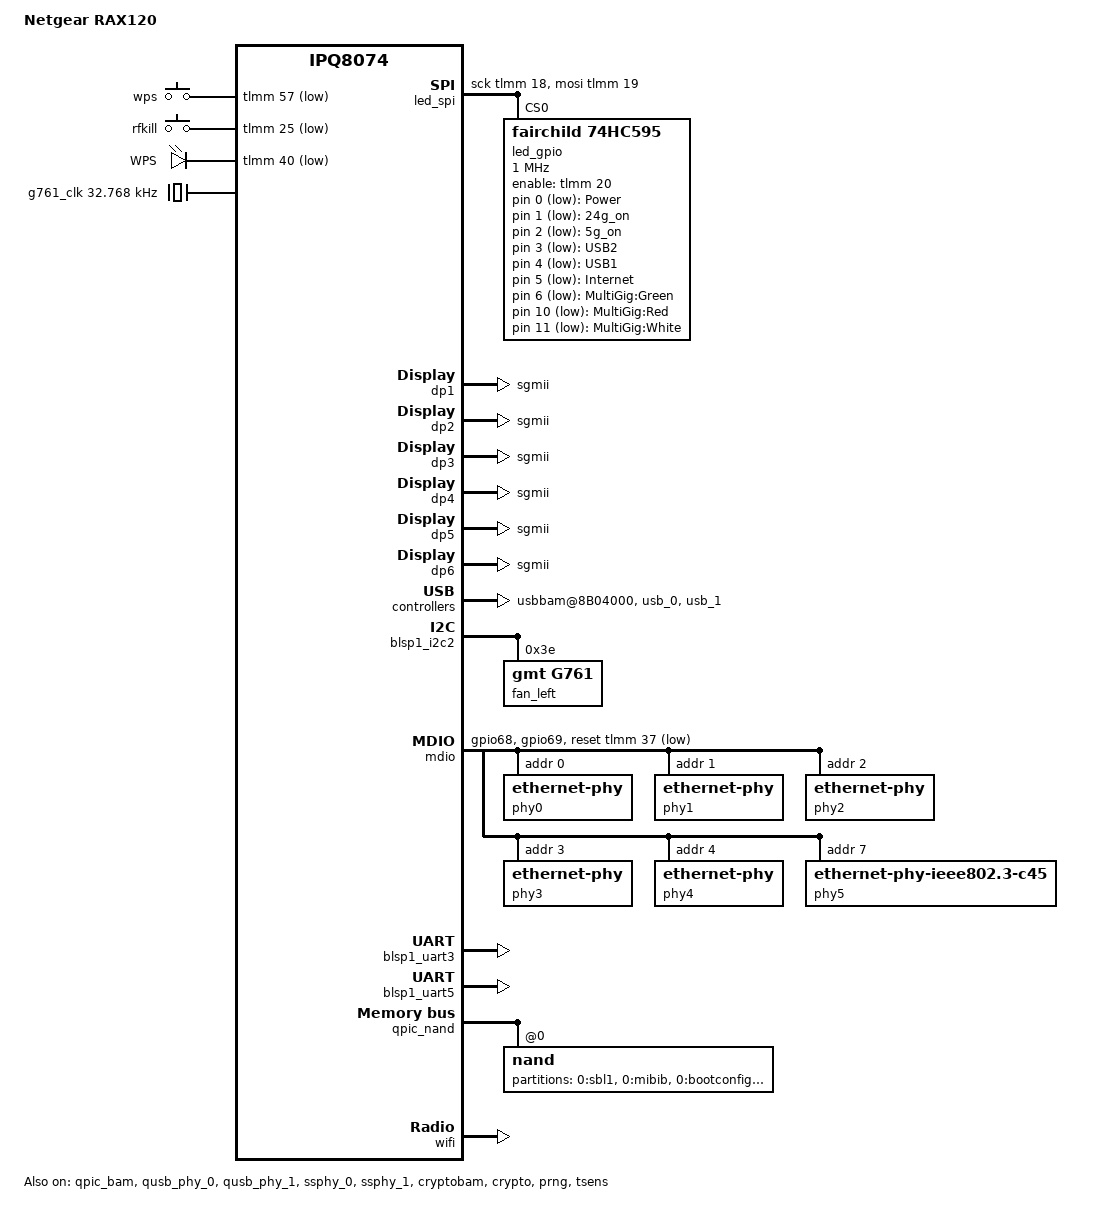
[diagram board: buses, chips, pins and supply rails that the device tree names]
// SPDX-License-Identifier: GPL-2.0-only
/dts-v1/;
/* Copyright (c) 2017, The Linux Foundation. All rights reserved.
 */
#include "ipq8074.dtsi"
#include "ipq8074-ess.dtsi"
#include "ipq8074-hk-cpu.dtsi"
#include "ipq8074-512m.dtsi"
#include <dt-bindings/input/input.h>
#include <dt-bindings/gpio/gpio.h>

/ {
	#address-cells = <0x2>;
	#size-cells = <0x2>;
	model = "Netgear RAX120";
	compatible = "netgear,rax120", "qcom,ipq8074";
	interrupt-parent = <&intc>;

	aliases {
		serial0 = &blsp1_uart5;
		serial1 = &blsp1_uart3;
		label-mac-device = &dp1;
		ethernet0 = &dp1;
		ethernet1 = &dp2;
		ethernet2 = &dp3;
		ethernet3 = &dp4;
		ethernet4 = &dp5;
		ethernet5 = &dp6;
	};

	chosen {
		stdout-path = "serial0";
	};

	keys {
		compatible = "gpio-keys";

		wps {
			label = "wps";
			gpios = <&tlmm 57 GPIO_ACTIVE_LOW>;
			linux,code = <KEY_WPS_BUTTON>;
		};

		rfkill {
			label = "rfkill";
			gpios = <&tlmm 25 GPIO_ACTIVE_LOW>;
			linux,code = <KEY_RFKILL>;
		};
	};

	led_spi {
		compatible = "spi-gpio";
		#address-cells = <1>;
		#size-cells = <0>;
		sck-gpios = <&tlmm 18 GPIO_ACTIVE_HIGH>;
		mosi-gpios = <&tlmm 19 GPIO_ACTIVE_HIGH>;


		led_gpio: led_gpio@0 {
			compatible = "fairchild,74hc595";
			reg = <0>;
			gpio-controller;
			#gpio-cells = <2>;
			registers-number = <2>;
			spi-max-frequency = <1000000>;
			enable-gpios = <&tlmm 20 GPIO_ACTIVE_HIGH>;
		};
	};

	leds {
		compatible = "gpio-leds";

		led0 {
			label = "Power";
			gpios = <&led_gpio 0 GPIO_ACTIVE_LOW>;
			linux,default-trigger = "led_wifi_son_orange";
		};

		led1 {
			label = "24g_on";
			gpios = <&led_gpio 1 GPIO_ACTIVE_LOW>;
			linux,default-trigger = "led_wifi_son_orange";
		};

		led2 {
			label = "5g_on";
			gpios = <&led_gpio 2 GPIO_ACTIVE_LOW>;
			linux,default-trigger = "led_wifi_son_blue";
		};

		led3 {
			label = "USB2";
			gpios = <&led_gpio 3 GPIO_ACTIVE_LOW>;
			linux,default-trigger = "phy0radio";
		};

		led4 {
			label = "USB1";
			gpios = <&led_gpio 4 GPIO_ACTIVE_LOW>;
			linux,default-trigger = "led_5gl";
		};

		led5 {
			label = "Internet";
			gpios = <&led_gpio 5 GPIO_ACTIVE_LOW>;
			linux,default-trigger = "led_5gh";
		};

		led6 {
			label = "MultiGig:Green";
			gpios = <&led_gpio 6 GPIO_ACTIVE_LOW>;
			linux,default-trigger = "led_lan";
		};	

		led7 {
			label = "MultiGig:Red";
			gpios = <&led_gpio 10 GPIO_ACTIVE_LOW>;
			linux,default-trigger = "led_lan";
		};

		led8 {
			label = "MultiGig:White";
			gpios = <&led_gpio 11 GPIO_ACTIVE_LOW>;
			linux,default-trigger = "led_lan";
		};

		led9 {
			label = "WPS";
			gpios = <&tlmm 40 GPIO_ACTIVE_LOW>;
			linux,default-trigger = "led_usb2_enable";
		};
	};

	partitions {
		compatible = "fixed-partitions";
		#address-cells = <1>;
        #size-cells = <1>;
		partition@0100000 {
			label = "0:ART.bak";
			reg = <0x01000000 0x00080000>;
		};
		partition@01080000 {
			label = "config";
			reg = <0x01080000 0x00100000>;
		};
		partition@01180000 {
			label = "boarddata1";
			reg = <0x01180000 0x00100000>;
		};
		partition@01280000 {
			label = "boarddata2";
			reg = <0x01280000 0x00100000>;
		};
		partition@01380000 {
			label = "pot";
			reg = <0x01380000 0x00100000>;
		};
		partition@01480000 {
			label = "dnidata";
			reg = <0x01480000 0x00500000>;
		};
		firmware@01980000 {
			label = "firmware";
			reg = <0x01980000 0x06400000>;
		
			partition@1 {
				label = "kernel";
				reg = <0x01980000 0x00620000>;
			};
			partition@2 {
				label = "rootfs";
				reg = <0x01fa0000 0x05de0000>;
			};
		};
		partition@07d80000 {
			label = "language";
			reg = <0x07d80000 0x00380000>;
		};
		partition@08100000 {
			label = "cert";
			reg = <0x08100000 0x00100000>;
		};
		partition@08200000 {
			label = "mtdoops";
			reg = <0x08200000 0x00080000>;
		};
		partition@08280000 {
			label = "router_analytics";
			reg = <0x08280000 0x00200000>;
		};
		partition@08480000 {
			label = "ntgrdata";
			reg = <0x08480000 0x06400000>;
		};
		partition@0E880000 {
			label = "reserved";
			reg = <0x0E880000 0x11780000>;
		};
	};
};

&clocks {
	sleep_clk: sleep_clk {
		compatible = "fixed-clock";
		clock-frequency = <32000>;
		#clock-cells = <0>;
	};

	g761_clk: g761-oscillator{
		compatible = "fixed-clock";
		#clock-cells = <0>;
		clock-frequency = <32768>;
  	};
};

&tlmm {

	mdio_pins: mdio-pins {
		mdc {
			pins = "gpio68";
			function = "mdc";
			drive-strength = <8>;
			bias-pull-up;
		};

		mdio {
			pins = "gpio69";
			function = "mdio";
			drive-strength = <8>;
			bias-pull-up;
		};
	};

	uniphy_pins: uniphy_pinmux {
		mux {
			pins = "gpio60";
			function = "rx2";
			bias-disable;
		};
		sfp_tx {
			pins = "gpio59";
			function = "gpio";
			drive-strength = <8>;
			bias-pull-down;
			output-low;
		};
	};
};

&soc {

	dp1: dp1 {
		device_type = "network";
		compatible = "qcom,nss-dp";
		qcom,id = <1>;
		reg = <0x3a001000 0x200>;
		qcom,mactype = <0>;
		local-mac-address = [000000000000];
		qcom,link-poll = <1>;
		qcom,phy-mdio-addr = <0>;
		phy-mode = "sgmii";
		mdio-bus = <&mdio>;
	};
	dp2: dp2 {
		device_type = "network";
		compatible = "qcom,nss-dp";
		qcom,id = <2>;
		reg = <0x3a001200 0x200>;
		qcom,mactype = <0>;
		local-mac-address = [000000000000];
		qcom,link-poll = <1>;
		qcom,phy-mdio-addr = <1>;
		phy-mode = "sgmii";
		mdio-bus = <&mdio>;
	};
	dp3: dp3 {
		device_type = "network";
		compatible = "qcom,nss-dp";
		qcom,id = <3>;
		reg = <0x3a001400 0x200>;
		qcom,mactype = <0>;
		local-mac-address = [000000000000];
		qcom,link-poll = <1>;
		qcom,phy-mdio-addr = <2>;
		phy-mode = "sgmii";
		mdio-bus = <&mdio>;
	};
	dp4: dp4 {
		device_type = "network";
		compatible = "qcom,nss-dp";
		qcom,id = <4>;
		reg = <0x3a001600 0x200>;
		qcom,mactype = <0>;
		local-mac-address = [000000000000];
		qcom,link-poll = <1>;
		qcom,phy-mdio-addr = <3>;
		phy-mode = "sgmii";
		mdio-bus = <&mdio>;
	};
	dp5: dp5 {
		device_type = "network";
		compatible = "qcom,nss-dp";
		qcom,id = <5>;
		reg = <0x3a001800 0x200>;
		qcom,mactype = <0>;
		local-mac-address = [000000000000];
		qcom,link-poll = <1>;
		qcom,phy-mdio-addr = <4>;
		phy-mode = "sgmii";
		mdio-bus = <&mdio>;
	};
	dp6: dp6 {
		device_type = "network";
		compatible = "qcom,nss-dp";
		qcom,id = <6>;
		reg = <0x3a007000 0x3fff>;
		qcom,mactype = <1>;
		local-mac-address = [000000000000];
		qcom,link-poll = <1>;
		qcom,phy-mdio-addr = <7>;
		phy-mode = "sgmii";
		mdio-bus = <&mdio>;
	};

	ess-switch@3a000000 {
		status = "okay";
		pinctrl-0 = <&uniphy_pins>;
		pinctrl-names = "default";
		switch_lan_bmp = <0x3e>; /* lan port bitmap */
		switch_wan_bmp = <0x40>; /* wan port bitmap */
		switch_mac_mode = <0x0>; /* mac mode for uniphy instance0*/
		switch_mac_mode1 = <0xff>; /* mac mode for uniphy instance1*/
		switch_mac_mode2 = <0xd>; /* mac mode for uniphy instance2*/
		bm_tick_mode = <0>; /* bm tick mode */
		tm_tick_mode = <0>; /* tm tick mode */	
		mdio-bus = <&mdio>;
		qcom,port_phyinfo {
			port@1 {
				port_id = <1>;
				phy_address = <0>;
			};
			port@2 {
				port_id = <2>;
				phy_address = <1>;
			};
			port@3 {
				port_id = <3>;
				phy_address = <2>;
			};
			port@4 {
				port_id = <4>;
				phy_address = <3>;
			};
			port@5 {
				port_id = <5>;
				phy_address = <4>;
			};
			port@6 {
				port_id = <6>;
				phy_address = <5>;
				compatible = "ethernet-phy-ieee802.3-c45";
				ethernet-phy-ieee802.3-c45;
			};
		};
		port_scheduler_resource {
			port@0 {
				port_id = <0>;
				ucast_queue = <0 143>;
				mcast_queue = <256 271>;
				l0sp = <0 35>;
				l0cdrr = <0 47>;
				l0edrr = <0 47>;
				l1cdrr = <0 7>;
				l1edrr = <0 7>;
			};
			port@1 {
				port_id = <1>;
				ucast_queue = <144 159>;
				mcast_queue = <272 275>;
				l0sp = <36 39>;
				l0cdrr = <48 63>;
				l0edrr = <48 63>;
				l1cdrr = <8 11>;
				l1edrr = <8 11>;
			};
			port@2 {
				port_id = <2>;
				ucast_queue = <160 175>;
				mcast_queue = <276 279>;
				l0sp = <40 43>;
				l0cdrr = <64 79>;
				l0edrr = <64 79>;
				l1cdrr = <12 15>;
				l1edrr = <12 15>;
			};
			port@3 {
				port_id = <3>;
				ucast_queue = <176 191>;
				mcast_queue = <280 283>;
				l0sp = <44 47>;
				l0cdrr = <80 95>;
				l0edrr = <80 95>;
				l1cdrr = <16 19>;
				l1edrr = <16 19>;
			};
			port@4 {
				port_id = <4>;
				ucast_queue = <192 207>;
				mcast_queue = <284 287>;
				l0sp = <48 51>;
				l0cdrr = <96 111>;
				l0edrr = <96 111>;
				l1cdrr = <20 23>;
				l1edrr = <20 23>;
			};
			port@5 {
				port_id = <5>;
				ucast_queue = <208 223>;
				mcast_queue = <288 291>;
				l0sp = <52 55>;
				l0cdrr = <112 127>;
				l0edrr = <112 127>;
				l1cdrr = <24 27>;
				l1edrr = <24 27>;
			};
			port@6 {
				port_id = <6>;
				ucast_queue = <224 239>;
				mcast_queue = <292 295>;
				l0sp = <56 59>;
				l0cdrr = <128 143>;
				l0edrr = <128 143>;
				l1cdrr = <28 31>;
				l1edrr = <28 31>;
			};
			port@7 {
				port_id = <7>;
				ucast_queue = <240 255>;
				mcast_queue = <296 299>;
				l0sp = <60 63>;
				l0cdrr = <144 159>;
				l0edrr = <144 159>;
				l1cdrr = <32 35>;
				l1edrr = <32 35>;
			};
		};
		port_scheduler_config {
			port@0 {
				port_id = <0>;
				l1scheduler {
					group@0 {
						sp = <0 1>; /*L0 SPs*/
						/*cpri cdrr epri edrr*/
						cfg = <0 0 0 0>;
					};
				};
				l0scheduler {
					group@0 {
						/*unicast queues*/
						ucast_queue = <0 4 8>;
						/*multicast queues*/
						mcast_queue = <256 260>;
						/*sp cpri cdrr epri edrr*/
						cfg = <0 0 0 0 0>;
					};
					group@1 {
						ucast_queue = <1 5 9>;
						mcast_queue = <257 261>;
						cfg = <0 1 1 1 1>;
					};
					group@2 {
						ucast_queue = <2 6 10>;
						mcast_queue = <258 262>;
						cfg = <0 2 2 2 2>;
					};
					group@3 {
						ucast_queue = <3 7 11>;
						mcast_queue = <259 263>;
						cfg = <0 3 3 3 3>;
					};
				};
			};
			port@1 {
				port_id = <1>;
				l1scheduler {
					group@0 {
						sp = <36>;
						cfg = <0 8 0 8>;
					};
					group@1 {
						sp = <37>;
						cfg = <1 9 1 9>;
					};
				};
				l0scheduler {
					group@0 {
						ucast_queue = <144>;
						ucast_loop_pri = <16>;
						mcast_queue = <272>;
						mcast_loop_pri = <4>;
						cfg = <36 0 48 0 48>;
					};
				};
			};
			port@2 {
				port_id = <2>;
				l1scheduler {
					group@0 {
						sp = <40>;
						cfg = <0 12 0 12>;
					};
					group@1 {
						sp = <41>;
						cfg = <1 13 1 13>;
					};
				};
				l0scheduler {
					group@0 {
						ucast_queue = <160>;
						ucast_loop_pri = <16>;
						mcast_queue = <276>;
						mcast_loop_pri = <4>;
						cfg = <40 0 64 0 64>;
					};
				};
			};
			port@3 {
				port_id = <3>;
				l1scheduler {
					group@0 {
						sp = <44>;
						cfg = <0 16 0 16>;
					};
					group@1 {
						sp = <45>;
						cfg = <1 17 1 17>;
					};
				};
				l0scheduler {
					group@0 {
						ucast_queue = <176>;
						ucast_loop_pri = <16>;
						mcast_queue = <280>;
						mcast_loop_pri = <4>;
						cfg = <44 0 80 0 80>;
					};
				};
			};
			port@4 {
				port_id = <4>;
				l1scheduler {
					group@0 {
						sp = <48>;
						cfg = <0 20 0 20>;
					};
					group@1 {
						sp = <49>;
						cfg = <1 21 1 21>;
					};
				};
				l0scheduler {
					group@0 {
						ucast_queue = <192>;
						ucast_loop_pri = <16>;
						mcast_queue = <284>;
						mcast_loop_pri = <4>;
						cfg = <48 0 96 0 96>;
					};
				};
			};
			port@5 {
				port_id = <5>;
				l1scheduler {
					group@0 {
						sp = <52>;
						cfg = <0 24 0 24>;
					};
					group@1 {
						sp = <53>;
						cfg = <1 25 1 25>;
					};
				};
				l0scheduler {
					group@0 {
						ucast_queue = <208>;
						ucast_loop_pri = <16>;
						mcast_queue = <288>;
						mcast_loop_pri = <4>;
						cfg = <52 0 112 0 112>;
					};
				};
			};
			port@6 {
				port_id = <6>;
				l1scheduler {
					group@0 {
						sp = <56>;
						cfg = <0 28 0 28>;
					};
					group@1 {
						sp = <57>;
						cfg = <1 29 1 29>;
					};
				};
				l0scheduler {
					group@0 {
						ucast_queue = <224>;
						ucast_loop_pri = <16>;
						mcast_queue = <292>;
						mcast_loop_pri = <4>;
						cfg = <56 0 128 0 128>;
					};
				};
			};
			port@7 {				
				port_id = <7>;					
				l1scheduler {
					group@0 {
						sp = <60>;
						cfg = <0 32 0 32>;
					};
					group@1 {
						sp = <61>;
						cfg = <1 33 1 33>;
					};
				};
				l0scheduler {
					group@0 {
						ucast_queue = <240>;
						ucast_loop_pri = <16>;
						mcast_queue = <296>;
						cfg = <60 0 144 0 144>;
					};
				};
			};
		};
	};

	nss-common {
		compatible = "qcom,nss-common";
		reg = <0x01868010 0x1000>;
		reg-names = "nss-misc-reset";
	};

	nss0: nss@40000000 {
		compatible = "qcom,nss";
		interrupts = <GIC_SPI 377 IRQ_TYPE_LEVEL_HIGH>,
			<GIC_SPI  378 IRQ_TYPE_LEVEL_HIGH>,
			<GIC_SPI  379 IRQ_TYPE_LEVEL_HIGH>,
			<GIC_SPI  380 IRQ_TYPE_LEVEL_HIGH>,
			<GIC_SPI  381 IRQ_TYPE_LEVEL_HIGH>,
			<GIC_SPI  382 IRQ_TYPE_LEVEL_HIGH>,
			<GIC_SPI  383 IRQ_TYPE_LEVEL_HIGH>,
			<GIC_SPI  384 IRQ_TYPE_LEVEL_HIGH>,
			<GIC_SPI  385 IRQ_TYPE_LEVEL_HIGH>;
		reg = <0x39000000 0x1000>,
			<0x38000000 0x30000>,
			<0x0b111000 0x1000>;
		reg-names = "nphys", "vphys", "qgic-phys";
	    clocks = <&gcc GCC_NSS_NOC_CLK>,
			<&gcc GCC_NSS_PTP_REF_CLK>,
			<&gcc GCC_NSS_CSR_CLK>,
			<&gcc GCC_NSS_CFG_CLK>,
			<&gcc GCC_NSS_IMEM_CLK>,
			<&gcc GCC_NSSNOC_QOSGEN_REF_CLK>,
			<&gcc GCC_MEM_NOC_NSS_AXI_CLK>,
			<&gcc GCC_NSSNOC_SNOC_CLK>,
			<&gcc GCC_NSSNOC_TIMEOUT_REF_CLK>,
			<&gcc GCC_NSS_CE_AXI_CLK>,
			<&gcc GCC_NSS_CE_APB_CLK>,
			<&gcc GCC_NSSNOC_CE_AXI_CLK>,
			<&gcc GCC_NSSNOC_CE_APB_CLK>,
			<&gcc GCC_NSSNOC_UBI0_AHB_CLK>,
			<&gcc GCC_UBI0_CORE_CLK>,
			<&gcc GCC_UBI0_AHB_CLK>,
			<&gcc GCC_UBI0_AXI_CLK>,
			<&gcc GCC_UBI0_MPT_CLK>,
			<&gcc GCC_UBI0_NC_AXI_CLK>;
	    clock-names = "nss-noc-clk", "nss-ptp-ref-clk",
			"nss-csr-clk", "nss-cfg-clk",
			"nss-imem-clk",
			"nss-nssnoc-qosgen-ref-clk",
			"nss-mem-noc-nss-axi-clk",
			"nss-nssnoc-snoc-clk",
			"nss-nssnoc-timeout-ref-clk",
			"nss-ce-axi-clk", "nss-ce-apb-clk",
			"nss-nssnoc-ce-axi-clk",
			"nss-nssnoc-ce-apb-clk",
			"nss-nssnoc-ahb-clk",
			"nss-core-clk", "nss-ahb-clk",
			"nss-axi-clk", "nss-mpt-clk",
			"nss-nc-axi-clk";
		    qcom,id = <0>;
		    qcom,num-queue = <4>;
		    qcom,num-irq = <9>;
		    qcom,num-pri = <4>;
		    qcom,load-addr = <0x40000000>;
		    qcom,low-frequency = <748800000>;
		    qcom,mid-frequency = <1497600000>;
		    qcom,max-frequency = <1689600000>;
		    qcom,bridge-enabled;
		    qcom,ipv4-enabled;
		    qcom,ipv4-reasm-enabled;
		    qcom,ipv6-enabled;
		    qcom,ipv6-reasm-enabled;
		    qcom,wlanredirect-enabled;
		    qcom,tun6rd-enabled;
		    qcom,l2tpv2-enabled;
		    qcom,gre-enabled;
		    qcom,gre-redir-enabled;
		    qcom,map-t-enabled;
		    qcom,portid-enabled;
		    qcom,ppe-enabled;
		    qcom,pppoe-enabled;
		    qcom,pptp-enabled;
		    qcom,tunipip6-enabled;
		    qcom,shaping-enabled;
		    qcom,wlan-dataplane-offload-enabled;
		    qcom,vlan-enabled;
		    npu-supply = <&npu_vreg>;
	};

	usbbam@8B04000 {
		compatible = "qcom,usb-bam-msm";
		reg = <0x8B04000 0x17000>;
		interrupt-parent = <&intc>;
		interrupts = <GIC_SPI 135 IRQ_TYPE_LEVEL_HIGH>;

		qcom,bam-type = <0>;
		qcom,usb-bam-fifo-baseaddr = <0x4A600000>;
		qcom,usb-bam-num-pipes = <4>;
		qcom,ignore-core-reset-ack;
		qcom,disable-clk-gating;
		qcom,usb-bam-override-threshold = <0x4001>;
		qcom,usb-bam-max-mbps-highspeed = <400>;
		qcom,usb-bam-max-mbps-superspeed = <3600>;
		qcom,reset-bam-on-connect;

		qcom,pipe0 {
			label = "ssusb-qdss-in-0";
			qcom,usb-bam-mem-type = <2>;
			qcom,dir = <1>;
			qcom,pipe-num = <0>;
			qcom,peer-bam = <0>;
			qcom,peer-bam-physical-address = <0x6044000>;
			qcom,src-bam-pipe-index = <0>;
			qcom,dst-bam-pipe-index = <0>;
			qcom,data-fifo-offset = <0x0>;
			qcom,data-fifo-size = <0xe00>;
			qcom,descriptor-fifo-offset = <0xe00>;
			qcom,descriptor-fifo-size = <0x200>;
		};
	};	

	dbm_1p5: dbm@8AF8000 {
		compatible = "qcom,usb-dbm-1p5";
		reg = <0x8AF8000 0x300>;
		qcom,reset-ep-after-lpm-resume;
	};
};

&blsp1_i2c2 {
	status = "okay";
	fan_left: g761@3e {
		compatible = "gmt,g761";
		reg = <0x3e>;
		clocks =<&g761_clk>;
		fan_gear_mode = <0>;
		fan_starty = <1>;
		pwm_polarity = <0>;
	};
};

&mdio {
	status = "okay";
	pinctrl-0 = <&mdio_pins>;
	pinctrl-names = "default";
	reset-gpios = <&tlmm 37 GPIO_ACTIVE_LOW>;

	phy0: ethernet-phy@0 {
		reg = <0>;
	};
	phy1: ethernet-phy@1 {
		reg = <1>;
	};
	phy2: ethernet-phy@2 {
		reg = <2>;
	};
	phy3: ethernet-phy@3 {
		reg = <3>;
	};
	phy4: ethernet-phy@4 {
		reg = <4>;
	};
	phy5: ethernet-phy@5 {
		compatible ="ethernet-phy-ieee802.3-c45";
		reg = <7>;
	};
};

&blsp1_uart3 {
	status = "okay";
};

&blsp1_uart5 {
	status = "okay";
};

&pcie0 {
	perst-gpio = <&tlmm 58 1>;
};

&pcie1 {
	perst-gpio = <&tlmm 61 1>;
};

&qpic_bam {
	status = "okay";
};

&qpic_nand {
	status = "okay";
	nand@0 {		
		reg = <0>;
		#address-cells = <0x01>;
		#size-cells = <0x01>;
		nand-ecc-strength = <4>;
		nand-ecc-step-size = <512>;
		nand-bus-width = <8>;
		partition@0 {
			label = "0:sbl1";
			reg = <0x00 0x100000>;
		};
		partition@100000 {
			label = "0:mibib";
			reg = <0x100000 0x100000>;
		};
		partition@200000 {
			label = "0:bootconfig";
			reg = <0x200000 0x80000>;
		};
		partition@280000 {
			label = "0:bootconfig_1";
			reg = <0x280000 0x80000>;
		};
		partition@300000 {
			label = "0:qsee";
			reg = <0x300000 0x300000>;
		};
		partition@600000 {
			label = "0:qsee_1";
			reg = <0x600000 0x300000>;
		};
		partition@900000 {
			label = "0:devcfg";
			reg = <0x900000 0x80000>;
		};
		partition@980000 {
			label = "0:devcfg_1";
			reg = <0x980000 0x80000>;
		};
		partition@a00000 {
			label = "0:apdp";
			reg = <0xa00000 0x80000>;
		};
		partition@a80000 {
			label = "0:apdp_1";
			reg = <0xa80000 0x80000>;
		};
		partition@b00000 {
			label = "0:rpm";
			reg = <0xb00000 0x80000>;
		};
		partition@b80000 {
			label = "0:rpm_1";
			reg = <0xb80000 0x80000>;
		};
		partition@c00000 {
			label = "0:cdt";
			reg = <0xc00000 0x80000>;
		};
		partition@c80000 {
			label = "0:cdt_1";
			reg = <0xc80000 0x80000>;
		};
		partition@d00000 {
			label = "0:appsblenv";
			reg = <0xd00000 0x80000>;
		};
		partition@d80000 {
			label = "0:appsbl";
			reg = <0xd80000 0x100000>;
		};
		partition@e80000 {
			label = "0:appsbl_1";
			reg = <0xe80000 0x100000>;
		};
		partition@f80000 {
			label = "0:art";
			reg = <0xf80000 0x80000>;
		};
		partition@1000000 {
			label = "0:art.bak";
			reg = <0x1000000 0x0080000>;
		};
		partition@1080000 {
			label = "config";
			reg = <0x1080000 0x0100000>;
		};
		partition@1180000 {
			label = "boarddata1";
			reg = <0x1180000 0x0100000>;
		};
		partition@1280000 {
			label = "boarddata2";
			reg = <0x1280000 0x0100000>;
		};
		partition@1380000 {
			label = "pot";
			reg = <0x1380000 0x0100000>;
		};
		partition@1480000 {
			label = "dnidata";
			reg = <0x1480000 0x0500000>;
		};
		partition@1980000 {
			label = "firmware";
			reg = <0x1980000 0x6400000>;
		};
		kernel@1980000 {
			label = "kernel";
			reg = <0x1980000 0x01D00000>;
		};
		rootfs@3680000 {
			label = "rootfs";
			reg = <0x3680000 0x4700000>;
		};
		partition@7d80000 {
			label = "language";
			reg = <0x7d80000 0x0380000>;
		};
		partition@8100000 {
			label = "cert";
			reg = <0x8100000 0x0100000>;
		};
		partition@8200000 {
			label = "mtdoops";
			reg = <0x8200000 0x0080000>;
		};
		partition@8280000 {
			label = "router_analytics";
			reg = <0x8280000 0x0200000>;
		};
		partition@8480000 {
			label = "ntgrdata";
			reg = <0x8480000 0x6400000>;
		};
		partition@E880000 {
			label = "reserved";
			reg = <0xE880000 0x11780000>;
		};
	};
};

&qusb_phy_0 {
	status = "okay";
};

&qusb_phy_1 {
	status = "okay";
};

&ssphy_0 {
	status = "okay";
};

&ssphy_1 {
	status = "okay";
};

&usb_0 {
	status = "okay";
	qcom,usb-dbm = <&dbm_1p5>;
};

&usb_1 {
	status = "okay";
};

&wifi{
	qcom,board_id = <0xff>;
	qcom,ath11k-calibration-variant = "Netgear-RAX120";
	status = "okay";
};

&cryptobam {
	status = "okay";
};

&crypto {
	status = "okay";
};

&prng {
	status = "okay";
};

&edma {
	status = "okay";
};

&tsens {
	status = "okay";
};
